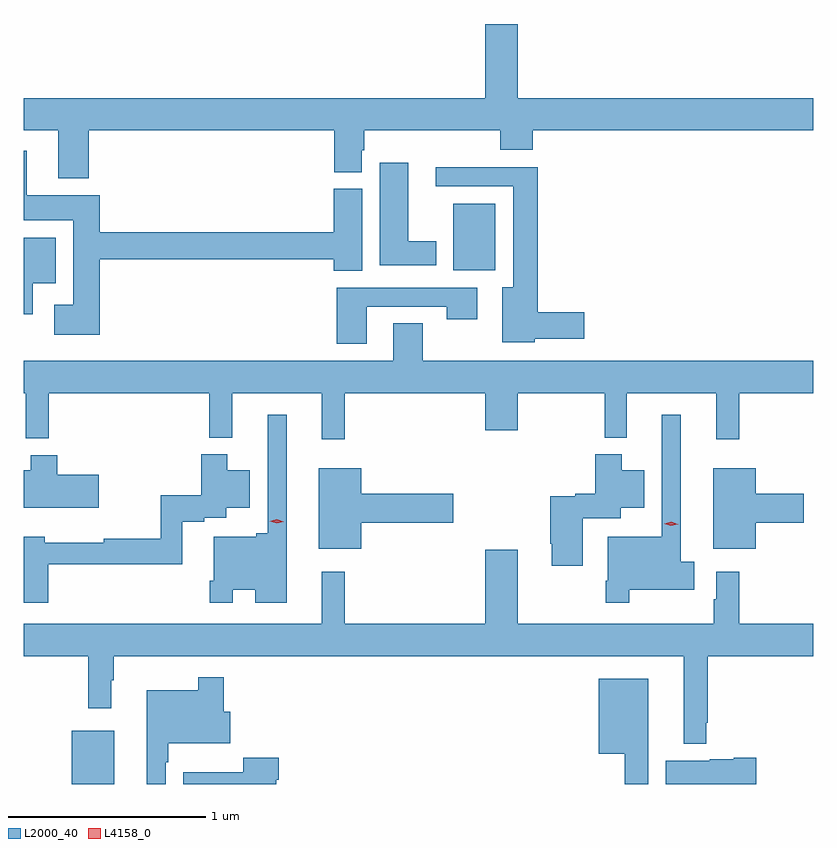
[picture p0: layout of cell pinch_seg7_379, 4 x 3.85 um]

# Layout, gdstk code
import gdstk
lib = gdstk.Library(unit=1e-6, precision=1e-09)
def R(c, l, rs):  # rectangles x0, y0, x1, y1
    for r in rs: c.add(gdstk.rectangle(r[:2], r[2:], *l))
def P(c, l, *ps):  # polygons
    for p in ps: c.add(gdstk.Polygon(p, *l))
L2000_40 = (2000, 40)
L4158_0 = (4158, 0)

pinch_seg7_379 = lib.new_cell('pinch_seg7_379')
R(pinch_seg7_379, L2000_40, [(426.65,1019.948,426.865,1020.217), (428.582,1022.552,428.794,1022.887)])
P(pinch_seg7_379, L2000_40, [(426.734,1023.26),(427.979,1023.26),(427.979,1023.049),(428.119,1023.049),(428.119,1023.159),(428.132,1023.159),(428.132,1023.26),(428.819,1023.26),(428.819,1023.161),(428.984,1023.161),(428.984,1023.26),(430.406,1023.26),(430.406,1023.424),(428.908,1023.424),(428.908,1023.799),(428.744,1023.799),(428.744,1023.424),(426.406,1023.424),(426.406,1023.26),(426.581,1023.26),(426.581,1023.017),(426.734,1023.017)],
  [(426.791,1022.608),(427.976,1022.608),(427.976,1022.548),(428.122,1022.548),(428.122,1022.964),(427.976,1022.964),(427.976,1022.744),(426.791,1022.744),(426.791,1022.932),(426.421,1022.932),(426.421,1023.157),(426.406,1023.157),(426.406,1022.804),(426.656,1022.804),(426.656,1022.377),(426.561,1022.377),(426.561,1022.225),(426.791,1022.225)],
  [(428.497,1022.698),(428.353,1022.698),(428.353,1023.097),(428.21,1023.097),(428.21,1022.576),(428.497,1022.576)],
  [(428.994,1022.204),(429.247,1022.204),(429.247,1022.339),(429.011,1022.339),(429.011,1023.074),(428.493,1023.074),(428.493,1022.976),(428.885,1022.976),(428.885,1022.464),(428.831,1022.464),(428.831,1022.186),(428.994,1022.186)],
  [(426.451,1022.486),(426.568,1022.486),(426.568,1022.716),(426.406,1022.716),(426.406,1022.328),(426.451,1022.328)],
  [(428.143,1022.367),(428.548,1022.367),(428.548,1022.304),(428.704,1022.304),(428.704,1022.463),(427.991,1022.463),(427.991,1022.178),(428.143,1022.178)],
  [(428.033,1021.928),(428.744,1021.928),(428.744,1021.74),(428.908,1021.74),(428.908,1021.928),(429.351,1021.928),(429.351,1021.703),(429.461,1021.703),(429.461,1021.928),(429.914,1021.928),(429.914,1021.695),(430.031,1021.695),(430.031,1021.928),(430.406,1021.928),(430.406,1022.092),(428.427,1022.092),(428.427,1022.282),(428.279,1022.282),(428.279,1022.092),(426.406,1022.092),(426.406,1021.928),(426.416,1021.928),(426.416,1021.7),(426.533,1021.7),(426.533,1021.928),(427.345,1021.928),(427.345,1021.703),(427.463,1021.703),(427.463,1021.928),(427.916,1021.928),(427.916,1021.695),(428.033,1021.695)],
  [(429.475,1020.932),(429.802,1020.932),(429.802,1021.073),(429.736,1021.073),(429.736,1021.819),(429.639,1021.819),(429.639,1021.201),(429.366,1021.201),(429.366,1020.979),(429.354,1020.979),(429.354,1020.867),(429.475,1020.867)],
  [(427.464,1020.932),(427.58,1020.932),(427.58,1020.867),(427.738,1020.867),(427.738,1021.819),(427.641,1021.819),(427.641,1021.219),(427.584,1021.219),(427.584,1021.201),(427.368,1021.201),(427.368,1020.979),(427.348,1020.979),(427.348,1020.867),(427.464,1020.867)],
  [(429.238,1021.295),(429.43,1021.295),(429.43,1021.349),(429.55,1021.349),(429.55,1021.537),(429.436,1021.537),(429.436,1021.618),(429.302,1021.618),(429.302,1021.418),(429.201,1021.418),(429.201,1021.405),(429.073,1021.405),(429.073,1021.165),(429.08,1021.165),(429.08,1021.053),(429.238,1021.053)],
  [(426.53,1021.062),(427.21,1021.062),(427.21,1021.276),(427.32,1021.276),(427.32,1021.296),(427.432,1021.296),(427.432,1021.349),(427.552,1021.349),(427.552,1021.537),(427.438,1021.537),(427.438,1021.618),(427.304,1021.618),(427.304,1021.412),(427.101,1021.412),(427.101,1021.19),(426.812,1021.19),(426.812,1021.171),(426.511,1021.171),(426.511,1021.201),(426.406,1021.201),(426.406,1020.867),(426.53,1020.867)],
  [(426.787,1021.515),(426.575,1021.515),(426.575,1021.615),(426.44,1021.615),(426.44,1021.537),(426.406,1021.537),(426.406,1021.349),(426.787,1021.349)],
  [(428.116,1021.271),(428.581,1021.271),(428.581,1021.418),(428.116,1021.418),(428.116,1021.549),(427.901,1021.549),(427.901,1021.139),(428.116,1021.139)],
  [(430.114,1021.271),(430.357,1021.271),(430.357,1021.418),(430.114,1021.418),(430.114,1021.549),(429.899,1021.549),(429.899,1021.139),(430.114,1021.139)],
  [(429.863,1020.259),(429.871,1020.259),(429.871,1020.596),(430.406,1020.596),(430.406,1020.76),(430.031,1020.76),(430.031,1021.024),(429.915,1021.024),(429.915,1020.884),(429.903,1020.884),(429.903,1020.76),(428.908,1020.76),(428.908,1021.135),(428.744,1021.135),(428.744,1020.76),(428.033,1020.76),(428.033,1021.024),(427.916,1021.024),(427.916,1020.76),(426.406,1020.76),(426.406,1020.596),(426.733,1020.596),(426.733,1020.333),(426.85,1020.333),(426.85,1020.473),(426.862,1020.473),(426.862,1020.596),(429.749,1020.596),(429.749,1020.152),(429.863,1020.152)],
  [(427.125,1020.059),(427.138,1020.059),(427.138,1020.155),(427.453,1020.155),(427.453,1020.313),(427.418,1020.313),(427.418,1020.49),(427.29,1020.49),(427.29,1020.424),(427.028,1020.424),(427.028,1019.948),(427.125,1019.948)],
  [(429.571,1020.481),(429.32,1020.481),(429.32,1020.101),(429.45,1020.101),(429.45,1019.948),(429.571,1019.948)],
  [(427.684,1019.969),(427.697,1019.969),(427.697,1020.082),(427.519,1020.082),(427.519,1020.007),(427.214,1020.007),(427.214,1019.948),(427.684,1019.948)],
  [(430.117,1020.08),(430.004,1020.08),(430.004,1020.073),(429.882,1020.073),(429.882,1020.067),(429.659,1020.067),(429.659,1019.948),(430.117,1019.948)])
P(pinch_seg7_379, L4158_0, [(429.685,1021.256),(429.65,1021.267),(429.65,1021.267),(429.65,1021.267),(429.686,1021.276),(429.72,1021.264),(429.721,1021.264),(429.72,1021.264)],
  [(427.687,1021.269),(427.652,1021.28),(427.651,1021.28),(427.652,1021.28),(427.687,1021.289),(427.722,1021.278),(427.723,1021.277),(427.722,1021.277)])

lib.write_gds('pinch_seg7_379.gds')
